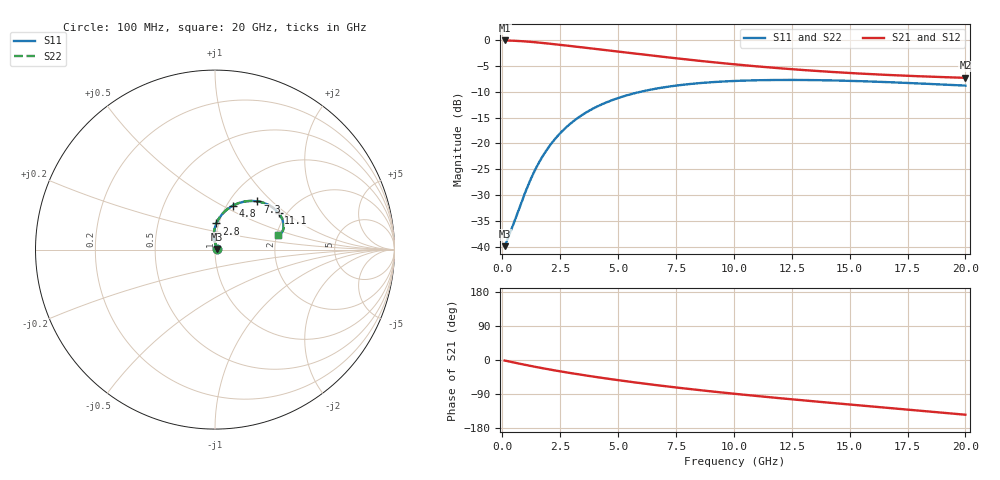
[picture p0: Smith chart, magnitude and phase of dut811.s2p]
! Touchstone file exported from HFSS 2024.1.0
!  File:  C:/UserFiles/LocalFiles/RDL_TSV_Batchsim/temp_RDL_TSV_811_1779912996.aedt
!  Generated:  04:29:22 AM May 28, 2026
!  Design:  RDL_TSV
!  Project:  temp_RDL_TSV_811_1779912996
!  Setup:  Setup1
!  Solution:  Sweep
! Variables:
!  dtsv = 9.96um
!  hbump = 3um
!  htsv = 51.11um
!  ldown = 193.64um
!  lrdl = 397.73um
!  p = 40
!  p1 = 57.53um
!  rhole = 10um
!  subl = 2171.84um
!  t = 450um
!  tdown = 3.93um
!  trdl = 4.95um
!  viad = 10um
!  wdown = 15.56um
!  wrdl = 20.3um
!  xbump = 18um
# GHz S MA R 50.000000
! Terminal data exported
! Port[1] = TM1_1_T1
! Port[2] = TM1_4_T1
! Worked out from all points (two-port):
!   200 points, 100 MHz to 20 GHz, reference 50 ohm
!   highest |S21| = -0.09 dB at 100 MHz (marker M1); lowest = -7.3 dB at 20 GHz (marker M2)
!   |S21| within 3 dB of the highest: start of sweep to 6.626 GHz
!   lowest |S11| = -39.9 dB at 100 MHz (marker M3), VSWR 1.02, Z = 51 + j0.327 ohm
!   |S11| at or under -10 dB: start of sweep to 5.981 GHz
!   |S22| runs from -39.9 to -7.7 dB; largest |S21 - S12| = 1.9e-14
!   S11 on the Smith chart (normalised r, x): 100 MHz: 1.02, +0.01; 2.8 GHz: 0.97, +0.29; 4.8 GHz: 1.07, +0.56; 7.3 GHz: 1.33, +0.82; 11.1 GHz: 1.82, +0.89; 20 GHz: 2.04, +0.39
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0.1  0.01017 18.4  0.99 -1.4  0.99 -1.4  0.01017 18.4
! Gamma 0 0 0 0
! Port Impedance 50 0 50 0
0.6  0.01959 69.5  0.9812 -7.9  0.9812 -7.9  0.01959 69.5
1.1  0.0387 90.1  0.9648 -14.2  0.9648 -14.2  0.03872 90.2
1.3  0.04896 93.2  0.9565 -16.6  0.9565 -16.6  0.04899 93.2
1.5  0.06032 94.5  0.9476 -19.0  0.9476 -19.0  0.06036 94.5
1.8  0.07888 94.5  0.9333 -22.4  0.9333 -22.4  0.07893 94.5
2.1  0.0986 93.0  0.9183 -25.7  0.9183 -25.7  0.09867 93.0
2.4  0.1189 90.7  0.903 -28.9  0.903 -28.9  0.119 90.8
2.8  0.146 87.1  0.8823 -33.0  0.8823 -33.0  0.1461 87.1
3.5  0.1917 80.1  0.8465 -39.8  0.8465 -39.8  0.1919 80.2
4.1  0.2277 74.2  0.8165 -45.3  0.8165 -45.3  0.2279 74.3
4.8  0.265 67.7  0.7825 -51.5  0.7825 -51.5  0.2653 67.8
5.7  0.3054 60.1  0.7409 -58.9  0.7409 -58.9  0.3057 60.2
6.8  0.3436 52.0  0.6937 -67.4  0.6937 -67.4  0.344 52.0
7.3  0.3574 48.7  0.6737 -71.0  0.6737 -71.0  0.3578 48.7
8.7  0.386 40.5  0.6229 -80.7  0.6229 -80.7  0.3865 40.6
10.1  0.4026 33.8  0.5799 -89.6  0.5799 -89.6  0.4031 33.8
11.1  0.4087 29.7  0.5535 -95.6  0.5535 -95.6  0.4092 29.7
13.4  0.4098 22.2  0.5052 -108.8  0.5052 -108.8  0.4104 22.2
15  0.4029 18.4  0.4799 -117.5  0.4799 -117.5  0.4035 18.4
16.7  0.3911 15.4  0.459 -126.6  0.459 -126.6  0.3917 15.4
20  0.3625 13.1  0.431 -144.4  0.431 -144.4  0.363 13.1
